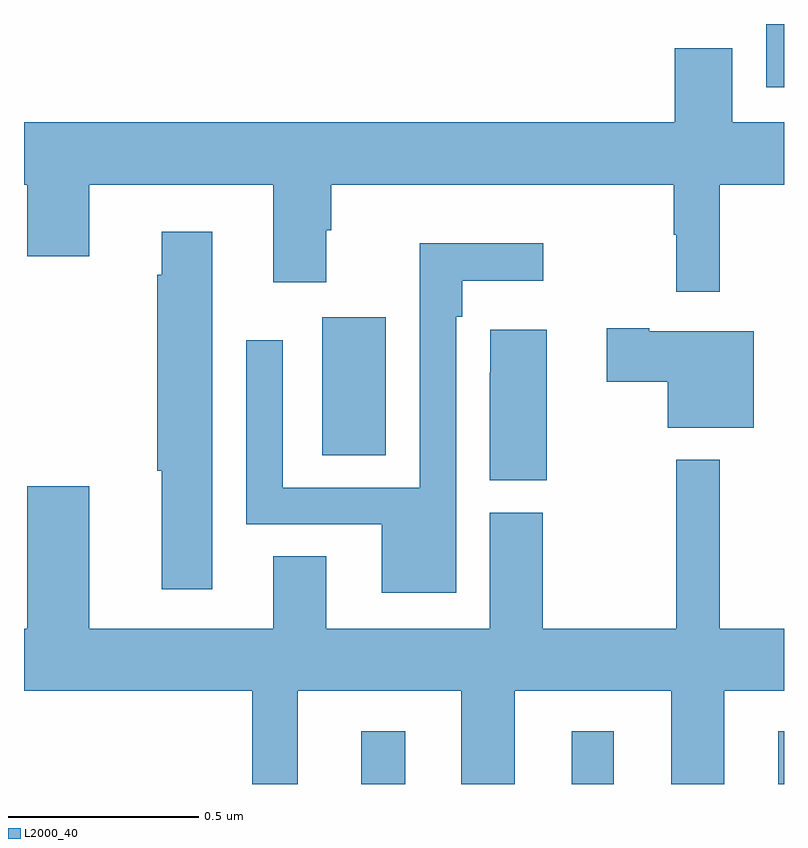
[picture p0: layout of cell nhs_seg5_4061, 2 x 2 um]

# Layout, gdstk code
import gdstk
lib = gdstk.Library(unit=1e-6, precision=1e-09)
def R(c, l, rs):  # rectangles x0, y0, x1, y1
    for r in rs: c.add(gdstk.rectangle(r[:2], r[2:], *l))
def P(c, l, *ps):  # polygons
    for p in ps: c.add(gdstk.Polygon(p, *l))
L2000_40 = (2000, 40)

nhs_seg5_4061 = lib.new_cell('nhs_seg5_4061')
R(nhs_seg5_4061, L2000_40, [(165.887,905.799,166.003,905.938), (166.442,905.799,166.552,905.938), (166.985,905.799,167,905.938), (165.785,906.664,165.952,907.027), (166.953,907.632,167,907.799)])
P(nhs_seg5_4061, L2000_40, [(166.831,907.376),(167,907.376),(167,907.54),(166.864,907.54),(166.864,907.735),(166.712,907.735),(166.712,907.54),(165,907.54),(165,907.376),(165.008,907.376),(165.008,907.188),(165.172,907.188),(165.172,907.376),(165.656,907.376),(165.656,907.119),(165.796,907.119),(165.796,907.256),(165.809,907.256),(165.809,907.376),(166.71,907.376),(166.71,907.244),(166.717,907.244),(166.717,907.095),(166.831,907.095)],
  [(165.496,907.252),(165.362,907.252),(165.362,907.139),(165.35,907.139),(165.35,906.624),(165.362,906.624),(165.362,906.312),(165.496,906.312)],
  [(166.137,907.028),(166.153,907.028),(166.153,907.124),(166.366,907.124),(166.366,907.222),(166.041,907.222),(166.041,906.579),(165.681,906.579),(165.681,906.967),(165.585,906.967),(165.585,906.483),(165.941,906.483),(165.941,906.302),(166.137,906.302)],
  [(166.921,906.991),(166.645,906.991),(166.645,906.999),(166.533,906.999),(166.533,906.857),(166.694,906.857),(166.694,906.737),(166.921,906.737)],
  [(166.375,906.994),(166.227,906.994),(166.227,906.881),(166.226,906.881),(166.226,906.598),(166.375,906.598)],
  [(165.721,906.044),(166.151,906.044),(166.151,905.799),(166.291,905.799),(166.291,906.044),(166.703,906.044),(166.703,905.799),(166.843,905.799),(166.843,906.044),(167,906.044),(167,906.208),(166.831,906.208),(166.831,906.652),(166.717,906.652),(166.717,906.208),(166.365,906.208),(166.365,906.513),(166.226,906.513),(166.226,906.208),(165.796,906.208),(165.796,906.398),(165.656,906.398),(165.656,906.208),(165.172,906.208),(165.172,906.583),(165.008,906.583),(165.008,906.208),(165,906.208),(165,906.044),(165.6,906.044),(165.6,905.799),(165.721,905.799)])

lib.write_gds('nhs_seg5_4061.gds')
